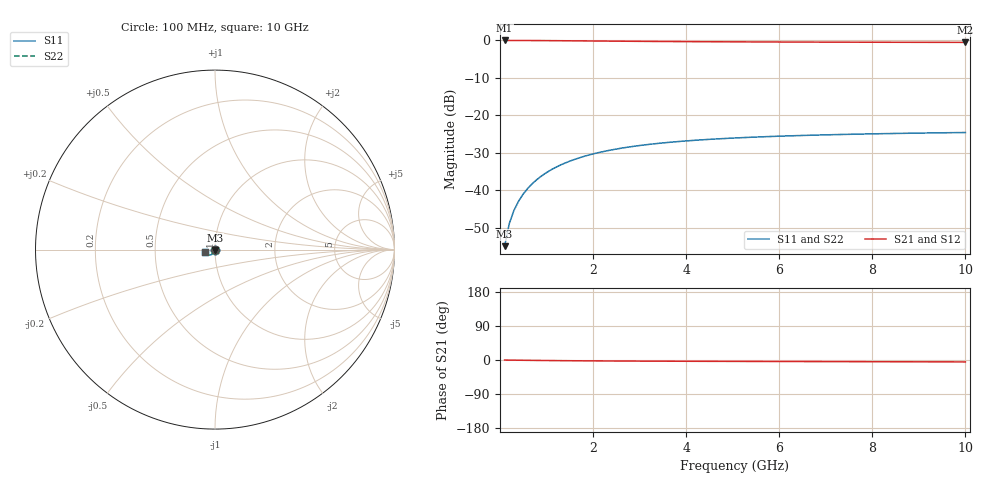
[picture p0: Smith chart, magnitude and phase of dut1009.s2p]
! Touchstone file exported from HFSS 2024.1.0
!  File:  C:/UserFiles/LocalFiles/RDL_TSV_Batchsim/temp_TSV1_1009_1780058787.aedt
!  Generated:  08:53:05 PM May 29, 2026
!  Design:  TSV1
!  Project:  temp_TSV1_1009_1780058787
!  Setup:  Setup1
!  Solution:  Sweep
! Variables:
!  dtsv = 12.6um
!  hbump = 3um
!  htsv = 77.99um
!  lrdl = 252.1521522um
!  p = 40
!  p1 = 47.06um
!  t = 500um
!  trdl = 3um
!  wrdl = 24.89489489um
# GHz S MA R 50.000000
! Terminal data exported
! Port[1] = TSV22_T1
! Port[2] = TSV22_T2
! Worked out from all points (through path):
!   100 points, 100 MHz to 10 GHz, reference 50 ohm
!   highest |S21| = 0.00 dB at 100 MHz (marker M1); lowest = -0.5 dB at 10 GHz (marker M2)
!   lowest |S11| = -54.9 dB at 100 MHz (marker M3), VSWR 1.00, Z = 50 - j0.18 ohm
!   |S11| at or under -10 dB: start of sweep to end of sweep
!   |S22| runs from -54.9 to -24.6 dB; largest |S21 - S12| = 6.4e-15
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0.1  0.001802 -88.9  0.9998 -0.1  0.9998 -0.1  0.001802 -88.9
! Gamma 0 0 0 0
! Port Impedance 50 0 50 0
0.2  0.0036 -92.0  0.9997 -0.3  0.9997 -0.3  0.0036 -92.0
0.3  0.005394 -94.3  0.9994 -0.4  0.9994 -0.4  0.005394 -94.3
0.4  0.007176 -96.3  0.999 -0.6  0.999 -0.6  0.007176 -96.3
0.5  0.008938 -98.2  0.9984 -0.7  0.9984 -0.7  0.008938 -98.2
0.6  0.01067 -100.1  0.9978 -0.9  0.9978 -0.9  0.01067 -100.1
0.7  0.01238 -101.9  0.9972 -1.0  0.9972 -1.0  0.01238 -101.9
0.8  0.01405 -103.7  0.9964 -1.1  0.9964 -1.1  0.01405 -103.7
0.9  0.01568 -105.5  0.9955 -1.2  0.9955 -1.2  0.01568 -105.5
1.1  0.01882 -108.8  0.9937 -1.5  0.9937 -1.5  0.01882 -108.8
1.4  0.02319 -113.6  0.9906 -1.8  0.9906 -1.8  0.02319 -113.6
1.6  0.02586 -116.5  0.9883 -2.0  0.9883 -2.0  0.02586 -116.5
1.8  0.02834 -119.3  0.9861 -2.2  0.9861 -2.2  0.02834 -119.3
2.1  0.03171 -123.2  0.9826 -2.4  0.9826 -2.4  0.03171 -123.2
2.5  0.0356 -127.9  0.9782 -2.7  0.9782 -2.7  0.0356 -127.9
2.9  0.03891 -132.0  0.9741 -2.9  0.9741 -2.9  0.03891 -132.0
3.4  0.04234 -136.5  0.9695 -3.1  0.9695 -3.1  0.04234 -136.5
4.2  0.04662 -142.4  0.9633 -3.4  0.9633 -3.4  0.04662 -142.4
5.1  0.05017 -147.8  0.9578 -3.7  0.9578 -3.7  0.05017 -147.8
6.7  0.05445 -155.0  0.9507 -4.1  0.9507 -4.1  0.05445 -155.0
8.4  0.05732 -160.8  0.9458 -4.6  0.9458 -4.6  0.05732 -160.8
10  0.05914 -165.0  0.9426 -5.1  0.9426 -5.1  0.05914 -165.0
